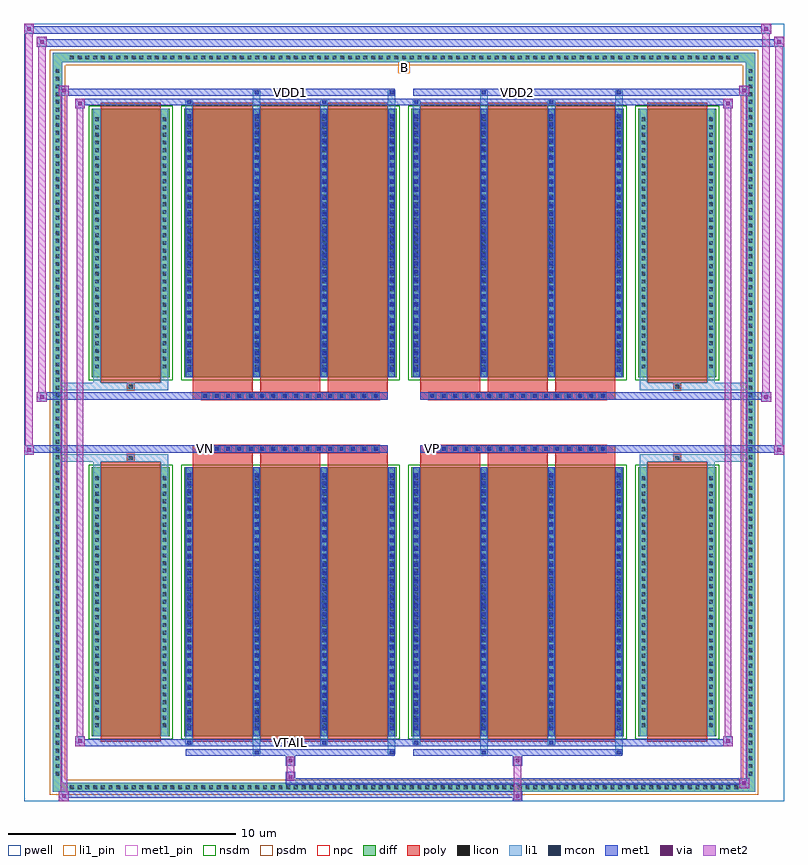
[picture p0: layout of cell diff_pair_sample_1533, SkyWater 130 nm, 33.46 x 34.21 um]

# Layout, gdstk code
import gdstk
lib = gdstk.Library(unit=1e-6, precision=5e-09)
def R(c, l, rs):  # rectangles x0, y0, x1, y1
    for r in rs: c.add(gdstk.rectangle(r[:2], r[2:], *l))
def A(c, l, x, y, w, h, nx, ny, dx, dy):  # array of equal rectangles
    R(c, l, [(x+i*dx, y+j*dy, x+i*dx+w, y+j*dy+h) for i in range(nx) for j in range(ny)])
def P(c, l, *ps):  # polygons
    for p in ps: c.add(gdstk.Polygon(p, *l))
pwell = (64, 44)
diff = (65, 20)
poly = (66, 20)
licon = (66, 44)
li1_pin = (67, 16)
li1 = (67, 20)
mcon = (67, 44)
met1_pin = (68, 16)
met1 = (68, 20)
via = (68, 44)
met2 = (69, 20)
nsdm = (93, 44)
psdm = (94, 20)
npc = (95, 20)

diff_pair_sample_1533 = lib.new_cell('diff_pair_sample_1533')
R(diff_pair_sample_1533, pwell, [(-16.73,-16.67,16.73,17.54), (-14.05,-14.86,-0.01,-0.8), (0.01,-14.86,14.05,-0.8), (-14.05,0.8,-0.01,14.86), (0.01,0.8,14.05,14.86)])
A(diff_pair_sample_1533, diff, -14.825, -16.27, 0.41, 0.41, 87, 2, 0.34, 32.13)
A(diff_pair_sample_1533, diff, -15.46, -15.675, 0.41, 0.41, 1, 92, 0, 0.34)
A(diff_pair_sample_1533, diff, 15.05, -15.675, 0.41, 0.41, 1, 92, 0, 0.34)
R(diff_pair_sample_1533, diff, [(-14.825,-16.27,14.825,-15.86), (-15.46,-15.675,-15.05,15.675), (15.05,-15.675,15.46,15.675), (-13.74,-13.815,-10.32,-1.985), (-9.68,-13.815,-0.32,-1.985), (0.32,-13.815,9.68,-1.985), (10.32,-13.815,13.74,-1.985), (-13.74,1.985,-10.32,13.815), (-9.68,1.985,-0.32,13.815), (0.32,1.985,9.68,13.815), (10.32,1.985,13.74,13.815), (-14.825,15.86,14.825,16.27)])
P(diff_pair_sample_1533, diff, [(15.46,16.27),(-15.46,16.27),(-15.46,-15.86),(-15.05,-15.86),(-15.05,15.86),(15.05,15.86),(15.05,-15.86),(-15.05,-15.86),(-15.46,-15.86),(-15.46,-16.27),(15.46,-16.27)])
A(diff_pair_sample_1533, poly, -9.29, -14.065, 2.64, 12.33, 3, 2, 2.97, 15.8)
A(diff_pair_sample_1533, poly, 0.71, -14.065, 2.64, 12.33, 3, 2, 2.97, 15.8)
A(diff_pair_sample_1533, poly, -9.29, -1.735, 2.64, 0.405, 3, 2, 2.97, 3.065)
A(diff_pair_sample_1533, poly, 0.71, -1.735, 2.64, 0.405, 3, 2, 2.97, 3.065)
A(diff_pair_sample_1533, poly, -8.915, -1.33, 0.33, 0.33, 16, 2, 0.5, 2.33)
A(diff_pair_sample_1533, poly, 1.085, -1.33, 0.33, 0.33, 16, 2, 0.5, 2.33)
R(diff_pair_sample_1533, poly, [(-13.35,-14.065,-10.71,-1.735), (10.71,-14.065,13.35,-1.735), (-12.195,-1.735,-11.865,-1.405), (-12.195,-1.735,-11.865,-1.405), (11.865,-1.735,12.195,-1.405), (11.865,-1.735,12.195,-1.405), (-9.29,-1.33,-0.71,-1), (0.71,-1.33,9.29,-1), (-9.29,1,-0.71,1.33), (0.71,1,9.29,1.33), (-12.195,1.405,-11.865,1.735), (-12.195,1.405,-11.865,1.735), (11.865,1.405,12.195,1.735), (11.865,1.405,12.195,1.735), (-13.35,1.735,-10.71,14.065), (10.71,1.735,13.35,14.065)])
A(diff_pair_sample_1533, licon, -14.705, -16.15, 0.17, 0.17, 87, 2, 0.34, 32.13)
A(diff_pair_sample_1533, licon, -15.34, -15.555, 0.17, 0.17, 1, 92, 0, 0.34)
A(diff_pair_sample_1533, licon, 15.17, -15.555, 0.17, 0.17, 1, 92, 0, 0.34)
A(diff_pair_sample_1533, licon, -13.6, -13.425, 0.17, 0.17, 1, 33, 0, 0.34)
A(diff_pair_sample_1533, licon, -10.63, -13.425, 0.17, 0.17, 1, 33, 0, 0.34)
A(diff_pair_sample_1533, licon, -9.54, -13.425, 0.17, 0.17, 4, 33, 2.97, 0.34)
A(diff_pair_sample_1533, licon, 0.46, -13.425, 0.17, 0.17, 4, 33, 2.97, 0.34)
A(diff_pair_sample_1533, licon, 10.46, -13.425, 0.17, 0.17, 1, 33, 0, 0.34)
A(diff_pair_sample_1533, licon, 13.43, -13.425, 0.17, 0.17, 1, 33, 0, 0.34)
A(diff_pair_sample_1533, licon, -8.835, -1.25, 0.17, 0.17, 16, 2, 0.5, 2.33)
A(diff_pair_sample_1533, licon, 1.165, -1.25, 0.17, 0.17, 16, 2, 0.5, 2.33)
A(diff_pair_sample_1533, licon, -13.6, 2.375, 0.17, 0.17, 1, 33, 0, 0.34)
A(diff_pair_sample_1533, licon, -10.63, 2.375, 0.17, 0.17, 1, 33, 0, 0.34)
A(diff_pair_sample_1533, licon, -9.54, 2.375, 0.17, 0.17, 4, 33, 2.97, 0.34)
A(diff_pair_sample_1533, licon, 0.46, 2.375, 0.17, 0.17, 4, 33, 2.97, 0.34)
A(diff_pair_sample_1533, licon, 10.46, 2.375, 0.17, 0.17, 1, 33, 0, 0.34)
A(diff_pair_sample_1533, licon, 13.43, 2.375, 0.17, 0.17, 1, 33, 0, 0.34)
R(diff_pair_sample_1533, licon, [(-12.115,-1.655,-11.945,-1.485), (11.945,-1.655,12.115,-1.485), (-12.115,1.485,-11.945,1.655), (11.945,1.485,12.115,1.655)])
R(diff_pair_sample_1533, li1_pin, [(-0.25,15.36,0.25,15.86)])
A(diff_pair_sample_1533, li1, -14.785, -16.23, 0.33, 0.33, 87, 2, 0.34, 32.13)
A(diff_pair_sample_1533, li1, -15.42, -15.635, 0.33, 0.33, 1, 92, 0, 0.34)
A(diff_pair_sample_1533, li1, 15.09, -15.635, 0.33, 0.33, 1, 92, 0, 0.34)
A(diff_pair_sample_1533, li1, -9.62, -13.815, 0.33, 11.83, 4, 2, 2.97, 15.8)
A(diff_pair_sample_1533, li1, 0.38, -13.815, 0.33, 11.83, 4, 2, 2.97, 15.8)
A(diff_pair_sample_1533, li1, -9.54, -13.565, 0.17, 0.17, 4, 32, 2.97, 0.36)
A(diff_pair_sample_1533, li1, -9.54, -13.565, 0.17, 11.33, 4, 2, 2.97, 15.8)
A(diff_pair_sample_1533, li1, 0.46, -13.565, 0.17, 0.17, 4, 32, 2.97, 0.36)
A(diff_pair_sample_1533, li1, 0.46, -13.565, 0.17, 11.33, 4, 2, 2.97, 15.8)
A(diff_pair_sample_1533, li1, -13.68, -13.505, 0.33, 0.33, 1, 33, 0, 0.34)
A(diff_pair_sample_1533, li1, -10.71, -13.505, 0.33, 0.33, 1, 33, 0, 0.34)
A(diff_pair_sample_1533, li1, -9.62, -13.505, 0.33, 0.33, 4, 33, 2.97, 0.34)
A(diff_pair_sample_1533, li1, 0.38, -13.505, 0.33, 0.33, 4, 33, 2.97, 0.34)
A(diff_pair_sample_1533, li1, 10.38, -13.505, 0.33, 0.33, 1, 33, 0, 0.34)
A(diff_pair_sample_1533, li1, 13.35, -13.505, 0.33, 0.33, 1, 33, 0, 0.34)
A(diff_pair_sample_1533, li1, -8.915, -1.33, 0.33, 0.33, 16, 2, 0.5, 2.33)
A(diff_pair_sample_1533, li1, 1.085, -1.33, 0.33, 0.33, 16, 2, 0.5, 2.33)
A(diff_pair_sample_1533, li1, -9.54, 2.235, 0.17, 0.17, 4, 32, 2.97, 0.36)
A(diff_pair_sample_1533, li1, 0.46, 2.235, 0.17, 0.17, 4, 32, 2.97, 0.36)
A(diff_pair_sample_1533, li1, -13.68, 2.295, 0.33, 0.33, 1, 33, 0, 0.34)
A(diff_pair_sample_1533, li1, -10.71, 2.295, 0.33, 0.33, 1, 33, 0, 0.34)
A(diff_pair_sample_1533, li1, -9.62, 2.295, 0.33, 0.33, 4, 33, 2.97, 0.34)
A(diff_pair_sample_1533, li1, 0.38, 2.295, 0.33, 0.33, 4, 33, 2.97, 0.34)
A(diff_pair_sample_1533, li1, 10.38, 2.295, 0.33, 0.33, 1, 33, 0, 0.34)
A(diff_pair_sample_1533, li1, 13.35, 2.295, 0.33, 0.33, 1, 33, 0, 0.34)
R(diff_pair_sample_1533, li1, [(-15.46,-16.27,-15.05,-15.86), (-15.46,-16.27,-15.05,-15.86), (-15.05,-16.27,15.05,-15.86), (15.05,-16.27,15.46,-15.86), (15.05,-16.27,15.46,-15.86), (-15.46,-15.86,-15.05,15.86), (15.05,-15.86,15.46,15.86), (-6.65,-14.62,-6.32,-13.815), (-6.57,-14.62,-6.4,-14.45), (-0.71,-14.62,-0.38,-13.815), (-0.63,-14.62,-0.46,-14.45), (3.35,-14.62,3.68,-13.815), (3.43,-14.62,3.6,-14.45), (9.29,-14.62,9.62,-13.815), (9.37,-14.62,9.54,-14.45), (-9.62,-14.19,-9.29,-13.815), (-9.54,-14.19,-9.37,-14.02), (-3.68,-14.19,-3.35,-13.815), (-3.6,-14.19,-3.43,-14.02), (0.38,-14.19,0.71,-13.815), (0.46,-14.19,0.63,-14.02), (6.32,-14.19,6.65,-13.815), (6.4,-14.19,6.57,-14.02), (-13.68,-13.815,-13.35,-1.985), (-10.71,-13.815,-10.38,-1.985), (10.38,-13.815,10.71,-1.985), (13.35,-13.815,13.68,-1.985), (-13.68,-1.985,-13.35,-1.405), (-10.71,-1.985,-10.38,-1.405), (10.38,-1.985,10.71,-1.405), (13.35,-1.985,13.68,-1.405), (-15.46,-1.735,-12.195,-1.405), (-13.68,-1.735,-12.195,-1.405), (-12.195,-1.735,-11.865,-1.405), (-11.865,-1.735,-10.38,-1.405), (10.38,-1.735,11.865,-1.405), (11.865,-1.735,12.195,-1.405), (11.865,-1.735,15.46,-1.405), (12.195,-1.735,13.68,-1.405), (-15.46,1.405,-12.195,1.735), (-13.68,1.405,-12.195,1.735), (-13.68,1.405,-13.35,1.985), (-12.195,1.405,-11.865,1.735), (-11.865,1.405,-10.38,1.735), (-10.71,1.405,-10.38,1.985), (10.38,1.405,11.865,1.735), (10.38,1.405,10.71,1.985), (11.865,1.405,12.195,1.735), (11.865,1.405,15.46,1.735), (12.195,1.405,13.68,1.735), (13.35,1.405,13.68,1.985), (-13.68,1.985,-13.35,13.815), (-10.71,1.985,-10.38,13.815), (10.38,1.985,10.71,13.815), (13.35,1.985,13.68,13.815), (-9.62,13.815,-9.29,14.19), (-6.65,13.815,-6.32,14.62), (-3.68,13.815,-3.35,14.19), (-0.71,13.815,-0.38,14.62), (0.38,13.815,0.71,14.19), (3.35,13.815,3.68,14.62), (6.32,13.815,6.65,14.19), (9.29,13.815,9.62,14.62), (-9.54,14.02,-9.37,14.19), (-3.6,14.02,-3.43,14.19), (0.46,14.02,0.63,14.19), (6.4,14.02,6.57,14.19), (-6.57,14.45,-6.4,14.62), (-0.63,14.45,-0.46,14.62), (3.43,14.45,3.6,14.62), (9.37,14.45,9.54,14.62), (-15.46,15.86,-15.05,16.27), (-15.46,15.86,-15.05,16.27), (-15.05,15.86,15.05,16.27), (15.05,15.86,15.46,16.27), (15.05,15.86,15.46,16.27)])
A(diff_pair_sample_1533, mcon, -9.54, -13.565, 0.17, 0.17, 4, 32, 2.97, 0.36)
A(diff_pair_sample_1533, mcon, 0.46, -13.565, 0.17, 0.17, 4, 32, 2.97, 0.36)
A(diff_pair_sample_1533, mcon, -8.835, -1.25, 0.17, 0.17, 16, 2, 0.5, 2.33)
A(diff_pair_sample_1533, mcon, 1.165, -1.25, 0.17, 0.17, 16, 2, 0.5, 2.33)
A(diff_pair_sample_1533, mcon, -9.54, 2.235, 0.17, 0.17, 4, 32, 2.97, 0.36)
A(diff_pair_sample_1533, mcon, 0.46, 2.235, 0.17, 0.17, 4, 32, 2.97, 0.36)
R(diff_pair_sample_1533, mcon, [(-6.57,-14.62,-6.4,-14.45), (-0.63,-14.62,-0.46,-14.45), (3.43,-14.62,3.6,-14.45), (9.37,-14.62,9.54,-14.45), (-9.54,-14.19,-9.37,-14.02), (-3.6,-14.19,-3.43,-14.02), (0.46,-14.19,0.63,-14.02), (6.4,-14.19,6.57,-14.02), (-9.54,14.02,-9.37,14.19), (-3.6,14.02,-3.43,14.19), (0.46,14.02,0.63,14.19), (6.4,14.02,6.57,14.19), (-6.57,14.45,-6.4,14.62), (-0.63,14.45,-0.46,14.62), (3.43,14.45,3.6,14.62), (9.37,14.45,9.54,14.62)])
R(diff_pair_sample_1533, met1_pin, [(-5.135,-14.23,-4.865,-13.96), (-8.885,-1.29,-8.615,-1.02), (1.115,-1.29,1.385,-1.02), (-5.135,14.41,-4.865,14.68), (4.865,14.41,5.135,14.68)])
A(diff_pair_sample_1533, met1, -9.6, -13.815, 0.29, 11.83, 4, 2, 2.97, 15.8)
A(diff_pair_sample_1533, met1, 0.4, -13.815, 0.29, 11.83, 4, 2, 2.97, 15.8)
A(diff_pair_sample_1533, met1, -9.6, -13.625, 0.29, 0.29, 4, 32, 2.97, 0.36)
A(diff_pair_sample_1533, met1, 0.4, -13.625, 0.29, 0.29, 4, 32, 2.97, 0.36)
A(diff_pair_sample_1533, met1, -8.895, -1.31, 0.29, 0.29, 16, 2, 0.5, 2.33)
A(diff_pair_sample_1533, met1, 1.105, -1.31, 0.29, 0.29, 16, 2, 0.5, 2.33)
A(diff_pair_sample_1533, met1, -9.6, 2.175, 0.29, 0.29, 4, 32, 2.97, 0.36)
A(diff_pair_sample_1533, met1, 0.4, 2.175, 0.29, 0.29, 4, 32, 2.97, 0.36)
R(diff_pair_sample_1533, met1, [(-15.19,-16.67,-14.76,-16.24), (4.785,-16.67,5.215,-16.24), (-15.19,-16.53,5.215,-16.24), (14.76,-16.1,15.19,-15.67), (-5.215,-15.96,15.19,-15.67), (-5.215,-15.82,-4.785,-15.39), (-5.215,-15.11,-4.785,-14.68), (4.785,-15.11,5.215,-14.68), (-9.6,-14.68,-0.4,-14.39), (-6.63,-14.68,-6.34,-14.39), (-0.69,-14.68,-0.4,-14.39), (0.4,-14.68,9.6,-14.39), (3.37,-14.68,3.66,-14.39), (9.31,-14.68,9.6,-14.39), (-14.48,-14.25,-14.05,-13.82), (-14.48,-14.25,-9.6,-13.96), (-9.6,-14.25,-9.31,-13.96), (-9.6,-14.25,-0.4,-13.96), (-3.66,-14.25,-3.37,-13.96), (-0.4,-14.25,0.4,-13.96), (0.4,-14.25,0.69,-13.96), (0.4,-14.25,9.6,-13.96), (6.34,-14.25,6.63,-13.96), (9.6,-14.25,14.48,-13.96), (14.05,-14.25,14.48,-13.82), (-16.73,-1.43,-16.3,-1), (16.3,-1.43,16.73,-1), (-16.73,-1.33,-0.71,-1), (-9.29,-1.33,-0.71,-1), (0.71,-1.33,9.29,-1), (0.71,-1.33,16.73,-1), (-16.16,0.9,-15.73,1.33), (15.73,0.9,16.16,1.33), (-16.16,1,-9.29,1.33), (-9.29,1,-0.71,1.33), (0.71,1,9.29,1.33), (9.29,1,16.16,1.33), (-14.48,13.82,-14.05,14.25), (14.05,13.82,14.48,14.25), (-14.48,13.96,-9.6,14.25), (-9.6,13.96,-9.31,14.25), (-9.6,13.96,-0.4,14.25), (-3.66,13.96,-3.37,14.25), (-0.4,13.96,0.4,14.25), (0.4,13.96,0.69,14.25), (0.4,13.96,9.6,14.25), (6.34,13.96,6.63,14.25), (9.6,13.96,14.48,14.25), (-15.19,14.39,-14.76,14.82), (-15.19,14.39,-9.6,14.68), (-9.6,14.39,-0.4,14.68), (-6.63,14.39,-6.34,14.68), (-0.69,14.39,-0.4,14.68), (0.4,14.39,9.6,14.68), (3.37,14.39,3.66,14.68), (9.31,14.39,9.6,14.68), (9.6,14.39,15.19,14.68), (14.76,14.39,15.19,14.82), (-16.16,16.54,-15.73,16.97), (-16.16,16.54,-14.05,16.87), (-14.05,16.54,14.05,16.87), (14.05,16.54,16.73,16.87), (16.3,16.54,16.73,16.97), (-16.73,17.11,-16.3,17.54), (-16.73,17.11,-14.05,17.44), (-14.05,17.11,14.05,17.44), (14.05,17.11,16.16,17.44), (15.73,17.11,16.16,17.54)])
R(diff_pair_sample_1533, via, [(-15.05,-16.53,-14.9,-16.38), (4.925,-16.53,5.075,-16.38), (14.9,-15.96,15.05,-15.81), (-5.075,-15.68,-4.925,-15.53), (-5.075,-14.97,-4.925,-14.82), (4.925,-14.97,5.075,-14.82), (-14.34,-14.11,-14.19,-13.96), (14.19,-14.11,14.34,-13.96), (-16.59,-1.29,-16.44,-1.14), (16.44,-1.29,16.59,-1.14), (-16.02,1.04,-15.87,1.19), (15.87,1.04,16.02,1.19), (-14.34,13.96,-14.19,14.11), (14.19,13.96,14.34,14.11), (-15.05,14.53,-14.9,14.68), (14.9,14.53,15.05,14.68), (-16.02,16.68,-15.87,16.83), (16.44,16.68,16.59,16.83), (-16.59,17.25,-16.44,17.4), (15.87,17.25,16.02,17.4)])
R(diff_pair_sample_1533, met2, [(-15.19,-16.67,-14.76,-16.24), (-15.12,-16.67,-14.83,14.82), (-14.83,-16.67,-14.76,-16.24), (-15.14,-16.62,-14.81,-16.29), (4.835,-16.62,5.165,-16.29), (4.835,-16.29,5.165,-15.06), (14.76,-16.1,15.19,-15.67), (14.83,-16.1,15.12,14.82), (15.12,-16.1,15.19,-15.67), (14.81,-16.05,15.14,-15.72), (-5.165,-15.77,-4.835,-15.44), (-5.165,-15.44,-4.835,-15.06), (-5.165,-15.06,-4.835,-14.73), (4.835,-15.06,5.165,-14.73), (-14.48,-14.25,-14.05,-13.82), (-14.41,-14.25,-14.12,14.25), (-14.12,-14.25,-14.05,-13.82), (14.05,-14.25,14.48,-13.82), (14.12,-14.25,14.41,14.25), (14.41,-14.25,14.48,-13.82), (-14.43,-14.2,-14.1,-13.87), (14.1,-14.2,14.43,-13.87), (-16.73,-1.43,-16.3,-1), (-16.68,-1.43,-16.35,17.54), (-16.35,-1.43,-16.3,-1), (16.3,-1.43,16.73,-1), (16.35,-1.43,16.68,16.97), (16.68,-1.43,16.73,-1), (-16.68,-1.38,-16.35,-1.05), (16.35,-1.38,16.68,-1.05), (-16.16,0.9,-15.73,1.33), (-16.11,0.9,-15.78,16.97), (-15.78,0.9,-15.73,1.33), (15.73,0.9,16.16,1.33), (15.78,0.9,16.11,17.54), (16.11,0.9,16.16,1.33), (-16.11,0.95,-15.78,1.28), (15.78,0.95,16.11,1.28), (-14.48,13.82,-14.05,14.25), (-14.12,13.82,-14.05,14.25), (14.05,13.82,14.48,14.25), (14.41,13.82,14.48,14.25), (-14.43,13.87,-14.1,14.2), (14.1,13.87,14.43,14.2), (-15.19,14.39,-14.76,14.82), (-14.83,14.39,-14.76,14.82), (14.76,14.39,15.19,14.82), (15.12,14.39,15.19,14.82), (-15.14,14.44,-14.81,14.77), (14.81,14.44,15.14,14.77), (-16.16,16.54,-15.73,16.97), (-15.78,16.54,-15.73,16.97), (16.3,16.54,16.73,16.97), (16.68,16.54,16.73,16.97), (-16.11,16.59,-15.78,16.92), (16.35,16.59,16.68,16.92), (-16.73,17.11,-16.3,17.54), (-16.35,17.11,-16.3,17.54), (15.73,17.11,16.16,17.54), (16.11,17.11,16.16,17.54), (-16.68,17.16,-16.35,17.49), (15.78,17.16,16.11,17.49)])
R(diff_pair_sample_1533, nsdm, [(-13.87,-13.945,-10.19,-1.855), (-9.81,-13.945,-0.19,-1.855), (0.19,-13.945,9.81,-1.855), (10.19,-13.945,13.87,-1.855), (-13.87,1.855,-10.19,13.945), (-9.81,1.855,-0.19,13.945), (0.19,1.855,9.81,13.945), (10.19,1.855,13.87,13.945)])
P(diff_pair_sample_1533, psdm, [(15.59,16.4),(-15.59,16.4),(-15.59,-15.73),(-14.92,-15.73),(-14.92,15.73),(14.92,15.73),(14.92,-15.73),(-14.92,-15.73),(-15.59,-15.73),(-15.59,-16.4),(15.59,-16.4)])
A(diff_pair_sample_1533, npc, -8.935, -1.35, 0.37, 0.37, 16, 2, 0.5, 2.33)
A(diff_pair_sample_1533, npc, 1.065, -1.35, 0.37, 0.37, 16, 2, 0.5, 2.33)
R(diff_pair_sample_1533, npc, [(-12.215,-1.755,-11.845,-1.385), (11.845,-1.755,12.215,-1.385), (-8.935,-1.35,-8.065,-0.98), (-8.935,-1.35,-8.065,-0.98), (-8.435,-1.35,-7.565,-0.98), (-8.435,-1.35,-7.565,-0.98), (-7.935,-1.35,-7.065,-0.98), (-7.935,-1.35,-7.065,-0.98), (-7.435,-1.35,-6.565,-0.98), (-7.435,-1.35,-6.565,-0.98), (-6.935,-1.35,-6.065,-0.98), (-6.935,-1.35,-6.065,-0.98), (-6.435,-1.35,-5.565,-0.98), (-6.435,-1.35,-5.565,-0.98), (-5.935,-1.35,-5.065,-0.98), (-5.935,-1.35,-5.065,-0.98), (-5.435,-1.35,-4.565,-0.98), (-5.435,-1.35,-4.565,-0.98), (-4.935,-1.35,-4.065,-0.98), (-4.935,-1.35,-4.065,-0.98), (-4.435,-1.35,-3.565,-0.98), (-4.435,-1.35,-3.565,-0.98), (-3.935,-1.35,-3.065,-0.98), (-3.935,-1.35,-3.065,-0.98), (-3.435,-1.35,-2.565,-0.98), (-3.435,-1.35,-2.565,-0.98), (-2.935,-1.35,-2.065,-0.98), (-2.935,-1.35,-2.065,-0.98), (-2.435,-1.35,-1.565,-0.98), (-2.435,-1.35,-1.565,-0.98), (-1.935,-1.35,-1.065,-0.98), (-1.935,-1.35,-1.065,-0.98), (1.065,-1.35,1.935,-0.98), (1.065,-1.35,1.935,-0.98), (1.565,-1.35,2.435,-0.98), (1.565,-1.35,2.435,-0.98), (2.065,-1.35,2.935,-0.98), (2.065,-1.35,2.935,-0.98), (2.565,-1.35,3.435,-0.98), (2.565,-1.35,3.435,-0.98), (3.065,-1.35,3.935,-0.98), (3.065,-1.35,3.935,-0.98), (3.565,-1.35,4.435,-0.98), (3.565,-1.35,4.435,-0.98), (4.065,-1.35,4.935,-0.98), (4.065,-1.35,4.935,-0.98), (4.565,-1.35,5.435,-0.98), (4.565,-1.35,5.435,-0.98), (5.065,-1.35,5.935,-0.98), (5.065,-1.35,5.935,-0.98), (5.565,-1.35,6.435,-0.98), (5.565,-1.35,6.435,-0.98), (6.065,-1.35,6.935,-0.98), (6.065,-1.35,6.935,-0.98), (6.565,-1.35,7.435,-0.98), (6.565,-1.35,7.435,-0.98), (7.065,-1.35,7.935,-0.98), (7.065,-1.35,7.935,-0.98), (7.565,-1.35,8.435,-0.98), (7.565,-1.35,8.435,-0.98), (8.065,-1.35,8.935,-0.98), (8.065,-1.35,8.935,-0.98), (-8.935,0.98,-8.065,1.35), (-8.935,0.98,-8.065,1.35), (-8.435,0.98,-7.565,1.35), (-8.435,0.98,-7.565,1.35), (-7.935,0.98,-7.065,1.35), (-7.935,0.98,-7.065,1.35), (-7.435,0.98,-6.565,1.35), (-7.435,0.98,-6.565,1.35), (-6.935,0.98,-6.065,1.35), (-6.935,0.98,-6.065,1.35), (-6.435,0.98,-5.565,1.35), (-6.435,0.98,-5.565,1.35), (-5.935,0.98,-5.065,1.35), (-5.935,0.98,-5.065,1.35), (-5.435,0.98,-4.565,1.35), (-5.435,0.98,-4.565,1.35), (-4.935,0.98,-4.065,1.35), (-4.935,0.98,-4.065,1.35), (-4.435,0.98,-3.565,1.35), (-4.435,0.98,-3.565,1.35), (-3.935,0.98,-3.065,1.35), (-3.935,0.98,-3.065,1.35), (-3.435,0.98,-2.565,1.35), (-3.435,0.98,-2.565,1.35), (-2.935,0.98,-2.065,1.35), (-2.935,0.98,-2.065,1.35), (-2.435,0.98,-1.565,1.35), (-2.435,0.98,-1.565,1.35), (-1.935,0.98,-1.065,1.35), (-1.935,0.98,-1.065,1.35), (1.065,0.98,1.935,1.35), (1.065,0.98,1.935,1.35), (1.565,0.98,2.435,1.35), (1.565,0.98,2.435,1.35), (2.065,0.98,2.935,1.35), (2.065,0.98,2.935,1.35), (2.565,0.98,3.435,1.35), (2.565,0.98,3.435,1.35), (3.065,0.98,3.935,1.35), (3.065,0.98,3.935,1.35), (3.565,0.98,4.435,1.35), (3.565,0.98,4.435,1.35), (4.065,0.98,4.935,1.35), (4.065,0.98,4.935,1.35), (4.565,0.98,5.435,1.35), (4.565,0.98,5.435,1.35), (5.065,0.98,5.935,1.35), (5.065,0.98,5.935,1.35), (5.565,0.98,6.435,1.35), (5.565,0.98,6.435,1.35), (6.065,0.98,6.935,1.35), (6.065,0.98,6.935,1.35), (6.565,0.98,7.435,1.35), (6.565,0.98,7.435,1.35), (7.065,0.98,7.935,1.35), (7.065,0.98,7.935,1.35), (7.565,0.98,8.435,1.35), (7.565,0.98,8.435,1.35), (8.065,0.98,8.935,1.35), (8.065,0.98,8.935,1.35), (-12.215,1.385,-11.845,1.755), (11.845,1.385,12.215,1.755)])
diff_pair_sample_1533.add(gdstk.Label('VTAIL', (-5,-14.095), layer=68, texttype=5))
diff_pair_sample_1533.add(gdstk.Label('VN', (-8.75,-1.155), layer=68, texttype=5))
diff_pair_sample_1533.add(gdstk.Label('VP', (1.25,-1.155), layer=68, texttype=5))
diff_pair_sample_1533.add(gdstk.Label('B', (0,15.61), layer=67, texttype=5))
diff_pair_sample_1533.add(gdstk.Label('VDD2', (5,14.545), layer=68, texttype=5))
diff_pair_sample_1533.add(gdstk.Label('VDD1', (-5,14.545), layer=68, texttype=5))

lib.write_gds('diff_pair_sample_1533.gds')
